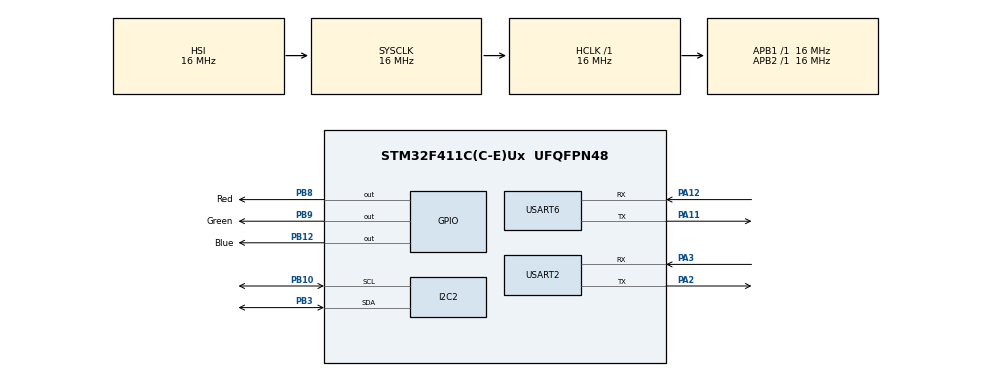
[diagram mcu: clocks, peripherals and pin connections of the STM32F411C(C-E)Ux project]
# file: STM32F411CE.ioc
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Mcu.Family=STM32F4
Mcu.Name=STM32F411C(C-E)Ux
Mcu.Package=UFQFPN48
NVIC.PriorityGroup=NVIC_PRIORITYGROUP_4
PA11.Mode=Asynchronous
PA11.Signal=USART6_TX
PA12.Mode=Asynchronous
PA12.Signal=USART6_RX
PA13.Mode=Serial_Wire
PA13.Signal=SYS_JTMS-SWDIO
PA14.Mode=Serial_Wire
PA14.Signal=SYS_JTCK-SWCLK
PA2.Mode=Asynchronous
PA2.Signal=USART2_TX
PA3.Mode=Asynchronous
PA3.Signal=USART2_RX
PB10.Mode=I2C
PB10.Signal=I2C2_SCL
PB12.GPIO_Label=Blue
PB12.GPIO_Speed=GPIO_SPEED_FREQ_MEDIUM
PB12.Signal=GPIO_Output
PB3.Mode=I2C
PB3.Signal=I2C2_SDA
PB8.GPIO_Label=Red
PB8.GPIO_Speed=GPIO_SPEED_FREQ_MEDIUM
PB8.Signal=GPIO_Output
PB9.GPIO_Label=Green
PB9.GPIO_Speed=GPIO_SPEED_FREQ_MEDIUM
PB9.Signal=GPIO_Output
ProjectManager.HeapSize=0x200
ProjectManager.StackSize=0x400
ProjectManager.TargetToolchain=STM32CubeIDE
RCC.AHBFreq_Value=16000000
RCC.APB1Freq_Value=16000000
RCC.APB2Freq_Value=16000000
RCC.CortexFreq_Value=16000000
RCC.HSE_VALUE=25000000
RCC.HSI_VALUE=16000000
RCC.LSE_VALUE=32768
RCC.SYSCLKFreq_VALUE=16000000
RCC.VCOOutputFreq_Value=192000000
USART2.VirtualMode=VM_ASYNC
USART6.VirtualMode=VM_ASYNC
board=custom

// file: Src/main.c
/* USER CODE BEGIN Header */
/**
  ******************************************************************************
  * @file           : main.c
  * @brief          : Main program body
  ******************************************************************************
  * @attention
  *
  * <h2><center>&copy; Copyright (c) 2019 STMicroelectronics.
  * All rights reserved.</center></h2>
  *
  * This software component is licensed by ST under BSD 3-Clause license,
  * the "License"; You may not use this file except in compliance with the
  * License. You may obtain a copy of the License at:
  *                        opensource.org/licenses/BSD-3-Clause
  *
  ******************************************************************************
  */
/* USER CODE END Header */

#include "main.h"

/* USER CODE BEGIN Includes */
#include "stdio.h"
#include "oled_display.h"
#include "oled.h"
/* USER CODE END Includes */

/* USER CODE BEGIN PD */
#ifdef __GNUC__
#define PUTCHAR_PROTOTYPE int __io_putchar(int ch)
#else
#define PUTCHAR_PROTOTYPE int fputc(int ch, FILE*f)
#endif
/* USER CODE END PD */

I2C_HandleTypeDef hi2c2;

UART_HandleTypeDef huart2;
UART_HandleTypeDef huart6;

void SystemClock_Config(void);
static void MX_GPIO_Init(void);
static void MX_I2C2_Init(void);
static void MX_USART2_UART_Init(void);
static void MX_USART6_UART_Init(void);

/* USER CODE BEGIN 0 */
PUTCHAR_PROTOTYPE
{
	HAL_UART_Transmit(&huart6, (uint8_t *)&ch, 1, 0xFFFF);
	return ch;
}
/* USER CODE END 0 */

int main(void)
{

  /* MCU Configuration--------------------------------------------------------*/

  /* Reset of all peripherals, Initializes the Flash interface and the Systick. */
  HAL_Init();

  /* Configure the system clock */
  SystemClock_Config();

  /* Initialize all configured peripherals */
  MX_GPIO_Init();
  MX_I2C2_Init();
  MX_USART2_UART_Init();
  MX_USART6_UART_Init();
  /* USER CODE BEGIN 2 */
  printf("This is a STM32F411CEU6\n\r");
  oled_display_memu();
  /* USER CODE END 2 */

  /* Infinite loop */
  /* USER CODE BEGIN WHILE */
  while (1)
  {
	HAL_GPIO_TogglePin(GPIOB, Blue_Pin);
	HAL_Delay(1000);
    /* USER CODE END WHILE */

  }
}

void SystemClock_Config(void)
{
  RCC_OscInitTypeDef RCC_OscInitStruct = {0};
  RCC_ClkInitTypeDef RCC_ClkInitStruct = {0};

  /** Configure the main internal regulator output voltage
  */
  __HAL_RCC_PWR_CLK_ENABLE();
  __HAL_PWR_VOLTAGESCALING_CONFIG(PWR_REGULATOR_VOLTAGE_SCALE1);
  /** Initializes the CPU, AHB and APB busses clocks
  */
  RCC_OscInitStruct.OscillatorType = RCC_OSCILLATORTYPE_HSI;
  RCC_OscInitStruct.HSIState = RCC_HSI_ON;
  RCC_OscInitStruct.HSICalibrationValue = RCC_HSICALIBRATION_DEFAULT;
  RCC_OscInitStruct.PLL.PLLState = RCC_PLL_NONE;
  if (HAL_RCC_OscConfig(&RCC_OscInitStruct) != HAL_OK)
  {
    Error_Handler();
  }
  /** Initializes the CPU, AHB and APB busses clocks
  */
  RCC_ClkInitStruct.ClockType = RCC_CLOCKTYPE_HCLK|RCC_CLOCKTYPE_SYSCLK
                              |RCC_CLOCKTYPE_PCLK1|RCC_CLOCKTYPE_PCLK2;
  RCC_ClkInitStruct.SYSCLKSource = RCC_SYSCLKSOURCE_HSI;
  RCC_ClkInitStruct.AHBCLKDivider = RCC_SYSCLK_DIV1;
  RCC_ClkInitStruct.APB1CLKDivider = RCC_HCLK_DIV1;
  RCC_ClkInitStruct.APB2CLKDivider = RCC_HCLK_DIV1;

  if (HAL_RCC_ClockConfig(&RCC_ClkInitStruct, FLASH_LATENCY_0) != HAL_OK)
  {
    Error_Handler();
  }
}

static void MX_I2C2_Init(void)
{

  hi2c2.Instance = I2C2;
  hi2c2.Init.ClockSpeed = 100000;
  hi2c2.Init.DutyCycle = I2C_DUTYCYCLE_2;
  hi2c2.Init.OwnAddress1 = 0;
  hi2c2.Init.AddressingMode = I2C_ADDRESSINGMODE_7BIT;
  hi2c2.Init.DualAddressMode = I2C_DUALADDRESS_DISABLE;
  hi2c2.Init.OwnAddress2 = 0;
  hi2c2.Init.GeneralCallMode = I2C_GENERALCALL_DISABLE;
  hi2c2.Init.NoStretchMode = I2C_NOSTRETCH_DISABLE;
  if (HAL_I2C_Init(&hi2c2) != HAL_OK)
  {
    Error_Handler();
  }

}

static void MX_USART2_UART_Init(void)
{

  huart2.Instance = USART2;
  huart2.Init.BaudRate = 115200;
  huart2.Init.WordLength = UART_WORDLENGTH_8B;
  huart2.Init.StopBits = UART_STOPBITS_1;
  huart2.Init.Parity = UART_PARITY_NONE;
  huart2.Init.Mode = UART_MODE_TX_RX;
  huart2.Init.HwFlowCtl = UART_HWCONTROL_NONE;
  huart2.Init.OverSampling = UART_OVERSAMPLING_16;
  if (HAL_UART_Init(&huart2) != HAL_OK)
  {
    Error_Handler();
  }

}

static void MX_USART6_UART_Init(void)
{

  huart6.Instance = USART6;
  huart6.Init.BaudRate = 115200;
  huart6.Init.WordLength = UART_WORDLENGTH_8B;
  huart6.Init.StopBits = UART_STOPBITS_1;
  huart6.Init.Parity = UART_PARITY_NONE;
  huart6.Init.Mode = UART_MODE_TX_RX;
  huart6.Init.HwFlowCtl = UART_HWCONTROL_NONE;
  huart6.Init.OverSampling = UART_OVERSAMPLING_16;
  if (HAL_UART_Init(&huart6) != HAL_OK)
  {
    Error_Handler();
  }

}

static void MX_GPIO_Init(void)
{
  GPIO_InitTypeDef GPIO_InitStruct = {0};

  /* GPIO Ports Clock Enable */
  __HAL_RCC_GPIOA_CLK_ENABLE();
  __HAL_RCC_GPIOB_CLK_ENABLE();

  /*Configure GPIO pin Output Level */
  HAL_GPIO_WritePin(GPIOB, Blue_Pin|Red_Pin|Green_Pin, GPIO_PIN_RESET);

  /*Configure GPIO pins : Blue_Pin Red_Pin Green_Pin */
  GPIO_InitStruct.Pin = Blue_Pin|Red_Pin|Green_Pin;
  GPIO_InitStruct.Mode = GPIO_MODE_OUTPUT_PP;
  GPIO_InitStruct.Pull = GPIO_NOPULL;
  GPIO_InitStruct.Speed = GPIO_SPEED_FREQ_MEDIUM;
  HAL_GPIO_Init(GPIOB, &GPIO_InitStruct);

}

void Error_Handler(void)
{
}

/************************ (C) COPYRIGHT STMicroelectronics *****END OF FILE****/
